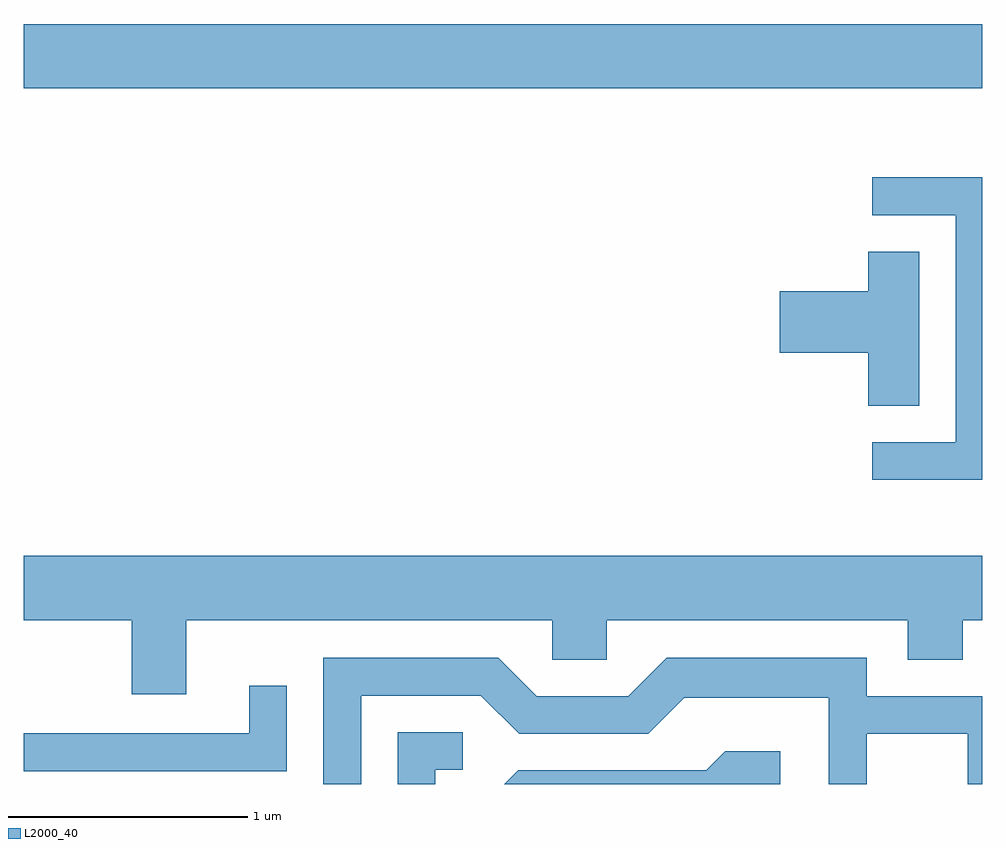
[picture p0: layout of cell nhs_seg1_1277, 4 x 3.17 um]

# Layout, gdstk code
import gdstk
lib = gdstk.Library(unit=1e-6, precision=1e-09)
def R(c, l, rs):  # rectangles x0, y0, x1, y1
    for r in rs: c.add(gdstk.rectangle(r[:2], r[2:], *l))
def P(c, l, *ps):  # polygons
    for p in ps: c.add(gdstk.Polygon(p, *l))
L2000_40 = (2000, 40)

nhs_seg1_1277 = lib.new_cell('nhs_seg1_1277')
R(nhs_seg1_1277, L2000_40, [(223.611,970.616,227.611,970.884)])
P(nhs_seg1_1277, L2000_40, [(227.611,970.244),(227.153,970.244),(227.153,970.086),(227.501,970.086),(227.501,969.139),(227.153,969.139),(227.153,968.981),(227.611,968.981)],
  [(227.349,969.934),(227.136,969.934),(227.136,969.769),(226.766,969.769),(226.766,969.511),(227.136,969.511),(227.136,969.291),(227.349,969.291)],
  [(224.289,968.396),(225.816,968.396),(225.816,968.231),(226.044,968.231),(226.044,968.396),(227.301,968.396),(227.301,968.231),(227.529,968.231),(227.529,968.396),(227.611,968.396),(227.611,968.664),(223.611,968.664),(223.611,968.396),(224.061,968.396),(224.061,968.086),(224.289,968.086)],
  [(225.019,968.081),(225.519,968.081),(225.679,967.921),(226.217,967.921),(226.367,968.071),(226.971,968.071),(226.971,967.712),(227.129,967.712),(227.129,967.921),(227.551,967.921),(227.551,967.712),(227.611,967.712),(227.611,968.079),(227.129,968.079),(227.129,968.239),(226.294,968.239),(226.134,968.079),(225.752,968.079),(225.592,968.239),(224.861,968.239),(224.861,967.712),(225.019,967.712)],
  [(224.709,968.123),(224.551,968.123),(224.551,967.924),(223.611,967.924),(223.611,967.766),(224.709,967.766)],
  [(225.329,967.771),(225.443,967.771),(225.443,967.929),(225.171,967.929),(225.171,967.712),(225.329,967.712)],
  [(226.768,967.849),(226.539,967.849),(226.459,967.769),(225.674,967.769),(225.617,967.712),(226.768,967.712)])

lib.write_gds('nhs_seg1_1277.gds')
